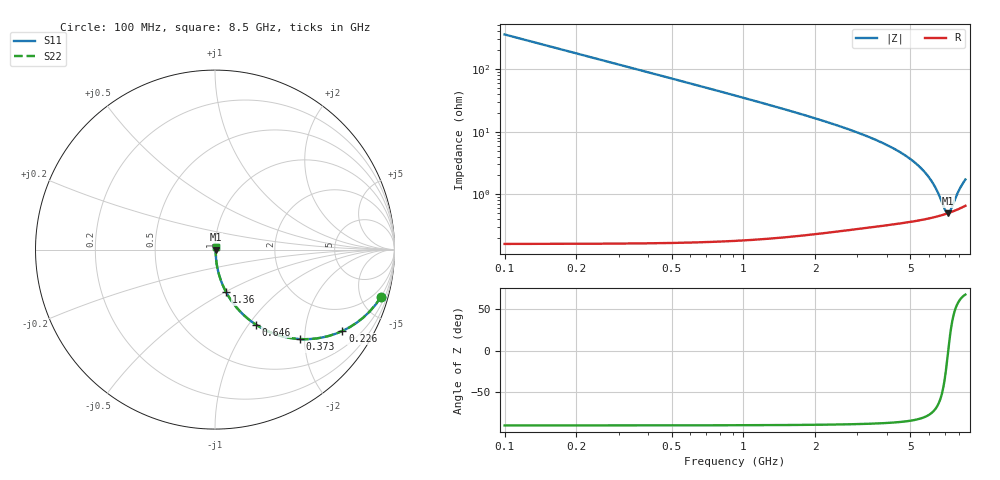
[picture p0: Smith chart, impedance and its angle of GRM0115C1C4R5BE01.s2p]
!Murata Part Number: GRM0115C1C4R5BE01
!These Parameters are Measured in Series Mode Connection
!Data Generated on Mar 30, 2021
!  o--ll--o
!Port1  Port2
!  o------o
!Operation Temp=25[degC], DC Bias Voltage=0[V]
!Freq. Start=100[MHz] Stop=9[GHz] 401[Steps]
# Hz S RI R 50
!Freq.(Hz) S11(Real) S11(Imag) S21(Real) S21(Imag) S12(Real) S12(Imag) S22(Real) S22(Imag)
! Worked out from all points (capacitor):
!   401 points, 100 MHz to 8.5 GHz, reference 50 ohm
!   read as one part in series: C = 4.5 pF near 142 MHz
!   lowest |Z| = 501 mohm at 7.177 GHz (marker M1)
!   series resonance near 7.203 GHz, so ESL is about 110 pH
!   S11 on the Smith chart (normalised r, x): 100 MHz: 1.00, -7.07; 226 MHz: 1.00, -3.13; 373 MHz: 1.00, -1.89; 646 MHz: 1.00, -1.09; 1.36 GHz: 1.00, -0.50; 8.5 GHz: 1.01, +0.03
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1e8  0.9258 -0.2618  0.0742 0.2618  0.0742 0.2618  0.9258 -0.2618
1.42e8  0.8609 -0.3457  0.1391 0.3457  0.1391 0.3457  0.8609 -0.3457
2.26e8  0.7094 -0.4535  0.2906 0.4535  0.2906 0.4535  0.7094 -0.4535
2.89e8  0.5987 -0.4895  0.4013 0.4895  0.4013 0.4895  0.5987 -0.4895
3.73e8  0.472 -0.4983  0.528 0.4983  0.528 0.4983  0.472 -0.4983
4.99e8  0.3325 -0.4699  0.6675 0.4699  0.6675 0.4699  0.3325 -0.4699
6.46e8  0.2283 -0.4181  0.7717 0.4181  0.7717 0.4181  0.2283 -0.4181
9.4e8  0.1213 -0.324  0.8787 0.324  0.8787 0.324  0.1213 -0.324
1.36e9  0.0606 -0.2346  0.9394 0.2346  0.9394 0.2346  0.0606 -0.2346
1.507e9  0.0495 -0.2123  0.9505 0.2123  0.9505 0.2123  0.0495 -0.2123
2.116e9  0.0248 -0.148  0.9752 0.148  0.9752 0.148  0.0248 -0.148
2.914e9  0.0128 -0.0994  0.9872 0.0994  0.9872 0.0994  0.0128 -0.0994
4.3e9  0.00607 -0.0521  0.9939 0.0521  0.9939 0.0521  0.00607 -0.0521
5.098e9  0.00484 -0.0341  0.9952 0.0341  0.9952 0.0341  0.00484 -0.0341
5.707e9  0.00449 -0.0227  0.9955 0.0227  0.9955 0.0227  0.00449 -0.0227
6.316e9  0.00448 -0.0127  0.9955 0.0127  0.9955 0.0127  0.00448 -0.0127
6.967e9  0.0048 -0.00321  0.9952 0.00321  0.9952 0.00321  0.0048 -0.00321
7.114e9  0.00492 -0.00119  0.9951 0.00119  0.9951 0.00119  0.00492 -0.00119
7.177e9  0.00497 -0.000342  0.995 0.000342  0.995 0.000342  0.00497 -0.000342
7.366e9  0.00516 0.00216  0.9948 -0.00216  0.9948 -0.00216  0.00516 0.00216
8.017e9  0.00598 0.0102  0.994 -0.0102  0.994 -0.0102  0.00598 0.0102
8.5e9  0.00678 0.0157  0.9932 -0.0157  0.9932 -0.0157  0.00678 0.0157
